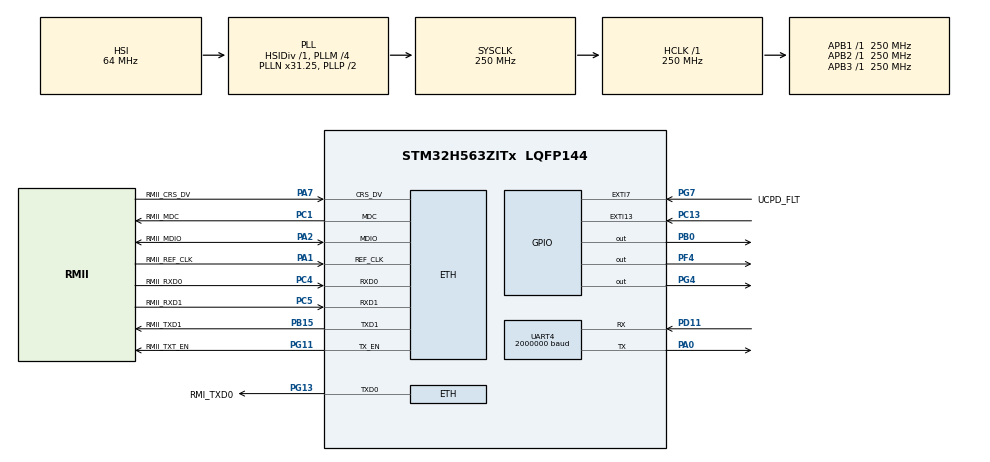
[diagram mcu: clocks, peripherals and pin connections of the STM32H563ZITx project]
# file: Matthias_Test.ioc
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BOOTPATH.BootPathName=LEGACY
BOOTPATH.UserSelectedBootPath=LEGACY
CORTEX_M33_NS.userName=CORTEX_M33
ETH.MediaInterface=HAL_ETH_RMII_MODE
GPDMA1.CIRCULARMODE_GPDMACH7=ENABLE
GPDMA1.DESTINC_GPDMACH7=DMA_DINC_INCREMENTED
GPDMA1.IPHANDLE_GPDMACH7-SIMPLEREQUEST_GPDMACH7=__NULL
GPDMA1.PRIORITY_LL_CIRCULAR_GPDMACH7=DMA_LOW_PRIORITY_MID_WEIGHT
GPDMA1.REQUEST_GPDMACH7=GPDMA1_REQUEST_UART4_RX
Mcu.Family=STM32H5
Mcu.Name=STM32H563ZITx
Mcu.Package=LQFP144
NUCLEO-H563ZI.BUTTON=1
NUCLEO-H563ZI.LD1=true
NUCLEO-H563ZI.LD2=true
NUCLEO-H563ZI.LD3=true
NUCLEO-H563ZI.VCP=true
NVIC.EXTI13_IRQn=true\:0\:0\:false\:false\:true\:false\:true\:true
NVIC.GPDMA1_Channel7_IRQn=true\:0\:0\:false\:false\:true\:false\:true\:true
NVIC.PriorityGroup=NVIC_PRIORITYGROUP_4
NVIC.UART4_IRQn=true\:0\:0\:false\:false\:true\:true\:true\:true
PA0.Mode=Asynchronous
PA0.Signal=UART4_TX
PA1.GPIO_Label=RMII_REF_CLK
PA1.GPIO_Mode=GPIO_MODE_AF_PP
PA1.GPIO_PuPd=GPIO_NOPULL
PA1.GPIO_Speed=GPIO_SPEED_FREQ_LOW
PA1.Mode=RMII
PA1.Signal=ETH_REF_CLK
PA11.GPIO_Label=USB_FS_N
PA11.Signal=USB_DM
PA12.GPIO_Label=USB_FS_P
PA12.Signal=USB_DP
PA13(JTMS/SWDIO).GPIO_Label=SWDIO
PA13(JTMS/SWDIO).Signal=DEBUG_JTMS-SWDIO
PA14(JTCK/SWCLK).GPIO_Label=SWCLK
PA14(JTCK/SWCLK).Signal=DEBUG_JTCK-SWCLK
PA15(JTDI).GPIO_Label=T_JTDI
PA15(JTDI).Signal=DEBUG_JTDI
PA2.GPIO_Label=RMII_MDIO
PA2.GPIO_Mode=GPIO_MODE_AF_PP
PA2.GPIO_PuPd=GPIO_NOPULL
PA2.GPIO_Speed=GPIO_SPEED_FREQ_LOW
PA2.Mode=RMII
PA2.Signal=ETH_MDIO
PA4.GPIO_Label=VBUS_SENSE
PA4.Signal=ADCx_INP18
PA7.GPIO_Label=RMII_CRS_DV
PA7.GPIO_Mode=GPIO_MODE_AF_PP
PA7.GPIO_PuPd=GPIO_NOPULL
PA7.GPIO_Speed=GPIO_SPEED_FREQ_LOW
PA7.Mode=RMII
PA7.Signal=ETH_CRS_DV
PA9.GPIO_Label=UCDP_DBn
PA9.Signal=UCPD1_DB1
PB0.Signal=GPIO_Output
PB13.GPIO_Label=UCPD_CC1
PB13.Signal=UCPD1_CC1
PB14.GPIO_Label=UCPD_CC2
PB14.Signal=UCPD1_CC2
PB15.GPIO_Label=RMII_TXD1
PB15.GPIO_Mode=GPIO_MODE_AF_PP
PB15.GPIO_PuPd=GPIO_NOPULL
PB15.GPIO_Speed=GPIO_SPEED_FREQ_LOW
PB15.Mode=RMII
PB15.Signal=ETH_TXD1
PB3(JTDO/TRACESWO).GPIO_Label=SWO
PB3(JTDO/TRACESWO).Signal=DEBUG_JTDO-SWO
PB6.GPIO_Label=ARD_D1_TX
PB6.Signal=LPUART1_TX
PB7.GPIO_Label=ARD_D0_RX
PB7.Signal=LPUART1_RX
PC1.GPIO_Label=RMII_MDC
PC1.GPIO_Mode=GPIO_MODE_AF_PP
PC1.GPIO_PuPd=GPIO_NOPULL
PC1.GPIO_Speed=GPIO_SPEED_FREQ_LOW
PC1.Mode=RMII
PC1.Signal=ETH_MDC
PC13.Signal=GPXTI13
PC14-OSC32_IN(OSC32_IN).Mode=LSE-External-Oscillator
PC14-OSC32_IN(OSC32_IN).Signal=RCC_OSC32_IN
PC15-OSC32_OUT(OSC32_OUT).Mode=LSE-External-Oscillator
PC15-OSC32_OUT(OSC32_OUT).Signal=RCC_OSC32_OUT
PC4.GPIO_Label=RMII_RXD0
PC4.GPIO_Mode=GPIO_MODE_AF_PP
PC4.GPIO_PuPd=GPIO_NOPULL
PC4.GPIO_Speed=GPIO_SPEED_FREQ_LOW
PC4.Mode=RMII
PC4.Signal=ETH_RXD0
PC5.GPIO_Label=RMII_RXD1
PC5.GPIO_Mode=GPIO_MODE_AF_PP
PC5.GPIO_PuPd=GPIO_NOPULL
PC5.GPIO_Speed=GPIO_SPEED_FREQ_LOW
PC5.Mode=RMII
PC5.Signal=ETH_RXD1
PD11.Mode=Asynchronous
PD11.Signal=UART4_RX
PD8.Signal=USART3_TX
PD9.Signal=USART3_RX
PE2.GPIO_Label=TRACE_CK
PE2.Signal=DEBUG_TRACECLK
PE3.GPIO_Label=TRACE_D0
PE3.Signal=DEBUG_TRACED0
PE4.GPIO_Label=TRACE_D1
PE4.Signal=DEBUG_TRACED1
PE5.GPIO_Label=TRACE_D2
PE5.Signal=DEBUG_TRACED2
PE6.GPIO_Label=TRACE_D3
PE6.Signal=DEBUG_TRACED3
PF4.Signal=GPIO_Output
PG11.GPIO_Label=RMII_TXT_EN
PG11.GPIO_Mode=GPIO_MODE_AF_PP
PG11.GPIO_PuPd=GPIO_NOPULL
PG11.GPIO_Speed=GPIO_SPEED_FREQ_LOW
PG11.Mode=RMII
PG11.Signal=ETH_TX_EN
PG13.GPIO_Label=RMI_TXD0
PG13.GPIO_Mode=GPIO_MODE_AF_PP
PG13.GPIO_PuPd=GPIO_NOPULL
PG13.GPIO_Speed=GPIO_SPEED_FREQ_LOW
PG13.Mode=RMII
PG13.Signal=ETH_TXD0
PG4.Signal=GPIO_Output
PG7.GPIO_Label=UCPD_FLT
PG7.Signal=GPXTI7
PH0-OSC_IN(PH0).GPIO_Label=STLK_MCO
PH0-OSC_IN(PH0).Mode=HSE-External-Clock-Source
PH0-OSC_IN(PH0).Signal=RCC_OSC_IN
ProjectManager.HeapSize=0x200
ProjectManager.StackSize=0x400
ProjectManager.TargetToolchain=STM32CubeIDE
RCC.ADCFreq_Value=250000000
RCC.AHBFreq_Value=250000000
RCC.APB1Freq_Value=250000000
RCC.APB1TimFreq_Value=250000000
RCC.APB2Freq_Value=250000000
RCC.APB2TimFreq_Value=250000000
RCC.APB3Freq_Value=250000000
RCC.CSI_VALUE=4000000
RCC.CortexFreq_Value=250000000
RCC.EPOD_VALUE=64000000
RCC.HCLKFreq_Value=250000000
RCC.HSE_VALUE=8000000
RCC.HSI48_VALUE=48000000
RCC.HSIDiv=RCC_HSI_DIV1
RCC.HSI_VALUE=64000000
RCC.LSIRC_VALUE=32000
RCC.PLLFRACN=2048
RCC.PLLM=4
RCC.PLLN=31
RCC.PLLSourceVirtual=RCC_PLL1_SOURCE_HSI
RCC.SYSCLKFreq_VALUE=250000000
RCC.SYSCLKSource=RCC_SYSCLKSOURCE_PLLCLK
RCC.USBFreq_Value=48000000
RCC.VCOOutputFreq_Value=500000000
SH.ADCx_INP18.0=ADC1_INP18
UART4.BaudRate=2000000
VP_BOOTPATH_VS_BOOTPATH.Mode=BP_Activate
VP_CORTEX_M33_NS_VS_Hclk.Mode=Hclk_Mode
VP_GPDMA1_VS_GPDMACH7.Mode=SIMPLEREQUEST_GPDMACH7
VP_ICACHE_VS_ENABLE_ICACHE_MEMORY.Mode=Memoryregions
VP_ICACHE_VS_ICACHE.Mode=DirectMappedCache
VP_MEMORYMAP_VS_MEMORYMAP.Mode=CurAppReg
VP_NUCLEO-H563ZI_VS_BSP_COMMON.Mode=COMMON
VP_PWR_VS_DBSignals.Mode=DisableDeadBatterySignals
VP_PWR_VS_LPOM.Mode=PowerOptimisation
VP_PWR_VS_SECSignals.Mode=Security/Privilege
board=NUCLEO-H563ZI

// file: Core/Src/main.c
/* USER CODE BEGIN Header */
/**
  ******************************************************************************
  * @file           : main.c
  * @brief          : Main program body
  ******************************************************************************
  * @attention
  *
  * Copyright (c) 2026 STMicroelectronics.
  * All rights reserved.
  *
  * This software is licensed under terms that can be found in the LICENSE file
  * in the root directory of this software component.
  * If no LICENSE file comes with this software, it is provided AS-IS.
  *
  ******************************************************************************
  */
/* USER CODE END Header */
#include "main.h"
#include "string.h"

/* USER CODE BEGIN Includes */
#include <stdio.h>
#include <string.h>

#include "SensorData.h"

#include "lwip.h"
#include "ethernetif.h"
#include "lwip/opt.h"
#include "lwip/init.h"
#include "netif/etharp.h"
#include "lwip/netif.h"
#include "lwip/timeouts.h"

#include "lwip/udp.h"
#include "lwip/pbuf.h"

#if LWIP_DHCP
#include "lwip/dhcp.h"
#endif
/* USER CODE END Includes */

/* USER CODE BEGIN PTD */
typedef struct __attribute__((packed))
{
    uint32_t time_stamp;
    uint16_t index;
    uint16_t sens_status;

    float accel_x;
    float accel_y;
    float accel_z;

    float rate_x;
    float rate_y;
    float rate_z;

    uint16_t temperature;

} ImuSensorData_t;
/* USER CODE END PTD */

ETH_TxPacketConfigTypeDef TxConfig;
ETH_DMADescTypeDef  DMARxDscrTab[ETH_RX_DESC_CNT]; /* Ethernet Rx DMA Descriptors */
ETH_DMADescTypeDef  DMATxDscrTab[ETH_TX_DESC_CNT]; /* Ethernet Tx DMA Descriptors */

COM_InitTypeDef BspCOMInit;

ETH_HandleTypeDef heth;

UART_HandleTypeDef huart4;
DMA_NodeTypeDef Node_GPDMA1_Channel7;
DMA_QListTypeDef List_GPDMA1_Channel7;
DMA_HandleTypeDef handle_GPDMA1_Channel7;

/* USER CODE BEGIN PV */
// ###############################################################################

// für ETH

extern struct netif gnetif;

// End für ETH

uint8_t rx_byte;

static uint8_t rxBuf[129];

volatile uint32_t rx_total_bytes = 0;
volatile uint32_t rx_last_size = 0;

// für die UDP Verbindung
static struct udp_pcb *udp_test_pcb = NULL;
static ip_addr_t udp_target_ip;
static uint16_t udp_target_port = 8575;
static uint32_t udp_test_counter = 0;

// Variable für Status von Callback
volatile HAL_StatusTypeDef rx_restart_status = HAL_OK;

// Ringbuffer Variablen
uint8_t rb[4096];
volatile uint16_t rb_wr; // write Index
volatile uint16_t rb_rd; // read Index
volatile uint32_t rb_overruns; // zählt überläufe

// Für DMA Zugriff
#define DMA_RX_BUF_SIZE 8192
uint8_t dma_rx_buf[DMA_RX_BUF_SIZE];
volatile uint16_t dma_last_pos = 0;

// Parser Varibalen
volatile uint8_t parser_msg_id = 0;
volatile uint16_t parser_length = 0;
volatile uint8_t parser_len_lsb = 0;
volatile uint8_t parser_len_msb = 0;

uint8_t parser_payload[256];
volatile uint16_t parser_payload_index = 0;

volatile uint16_t parser_crc = 0;
volatile uint8_t parser_etx = 0;

volatile uint32_t parser_frame_count = 0;

// Error counter
volatile uint32_t parser_crc_error_count = 0;
volatile uint32_t parser_etx_error_count = 0;
volatile uint32_t parser_length_error_count = 0;
volatile uint32_t parser_frame_error_count = 0;

// Variablen für CRC Buffer
uint8_t crc_input_buffer[259];

typedef enum
{
    PARSER_WAIT_SYNC1 = 0,
    PARSER_WAIT_SYNC2,
    PARSER_READ_MSG_ID,
    PARSER_READ_LEN_LSB,
    PARSER_READ_LEN_MSB,
    PARSER_READ_PAYLOAD,
    PARSER_READ_CRC_LSB,
    PARSER_READ_CRC_MSB,
    PARSER_READ_ETX
} parser_state_t;

// für Parser
volatile parser_state_t parser_state = PARSER_WAIT_SYNC1;
volatile uint32_t parser_header_count = 0;

volatile uint32_t parser_imu_print_count = 0;

// Variable die mit IMU Daten befüllt wird
tSensorData txMsg;

//###############################################################################
/* USER CODE END PV */

void SystemClock_Config(void);
static void MX_GPIO_Init(void);
static void MX_GPDMA1_Init(void);
static void MX_UART4_Init(void);
static void MX_ICACHE_Init(void);
/* USER CODE BEGIN PFP */

// für ETH

static void Netif_Config(void);

// End für ETH
void SystemClock_Config(void);
static void MX_GPIO_Init(void);
static void MX_GPDMA1_Init(void);
static void MX_UART4_Init(void);
static uint16_t imu_calculate_crc(const uint8_t *data, uint16_t length);

// für UDP

static void UDP_Test_Init(void);
static void UDP_Test_Send(void);

/* USER CODE END PFP */

/* USER CODE BEGIN 0 */
#define RB_SIZE 4096u
#define RB_MASK (RB_SIZE - 1u)

// IMU Daten packen und senden

static void UDP_Send_ImuToPlotter(const ImuSensorData_t *imu)
{
    /* Variante B: 32-bit-µs-Überlauf pro Sensor-Index rekonstruieren */
    static uint8_t  ts_init[8]     = {0};
    static uint32_t last_raw_us[8] = {0};
    static uint64_t base_us[8]     = {0};
    static double   last_time[8]   = {0.0};

    if ((udp_test_pcb == NULL) || (imu == NULL))
    {
        return;
    }

    tSensorData txMsg;
    memset(&txMsg, 0, sizeof(txMsg));

    txMsg.Ident.ID = SENSOR_ID_IMURATES_DOUBLE;
    txMsg.Ident.SubID = SENSOR_SUBID_MEMS_MINI_V12_0;
    txMsg.Ident.Index = (uint32_t)imu->index;

    /* --- Variante B: Überlauf des uint32-µs-Zeitstempels rekonstruieren --- */
    uint16_t idx = imu->index;
    if (idx >= 8u)               /* Schutz gegen ungültigen Index */
    {
        return;
    }

    uint8_t  first = !ts_init[idx];
    uint32_t raw   = imu->time_stamp;

    if (!first && (raw < last_raw_us[idx]) &&
        ((last_raw_us[idx] - raw) > 0x80000000UL))   /* nur echter Wrap (>2^31) */
    {
        base_us[idx] += 0x100000000ULL;              /* + 2^32 µs */
    }
    last_raw_us[idx] = raw;
    ts_init[idx]     = 1u;

    double t = (double)(base_us[idx] + raw) * 1e-6;
    txMsg.Values.ImuRates.Time = t;
    /* --------------------------------------------------------------------- */

    txMsg.Values.ImuRates.AngularRateIBB[0] = (double)imu->rate_x;
    txMsg.Values.ImuRates.AngularRateIBB[1] = (double)imu->rate_y;
    txMsg.Values.ImuRates.AngularRateIBB[2] = (double)imu->rate_z;

    txMsg.Values.ImuRates.AccelerationIBB[0] = (double)imu->accel_x;
    txMsg.Values.ImuRates.AccelerationIBB[1] = (double)imu->accel_y;
    txMsg.Values.ImuRates.AccelerationIBB[2] = (double)imu->accel_z;

    txMsg.Values.ImuRates.TimePeriod = first ? 0.0 : (t - last_time[idx]);
    last_time[idx] = t;

    txMsg.Values.ImuRates.Validity.vTime              = 1u;
    txMsg.Values.ImuRates.Validity.vAngularRateIBB_X  = 1u;
    txMsg.Values.ImuRates.Validity.vAngularRateIBB_Y  = 1u;
    txMsg.Values.ImuRates.Validity.vAngularRateIBB_Z  = 1u;
    txMsg.Values.ImuRates.Validity.vAccelerationIBB_X = 1u;
    txMsg.Values.ImuRates.Validity.vAccelerationIBB_Y = 1u;
    txMsg.Values.ImuRates.Validity.vAccelerationIBB_Z = 1u;
    txMsg.Values.ImuRates.Validity.vTimePeriod        = 1u;
    txMsg.Values.ImuRates.Validity.vCheckSum          = 0u;

    txMsg.Values.ImuRates.errorCode = 0u;

    struct pbuf *p = pbuf_alloc(PBUF_TRANSPORT, (u16_t)sizeof(txMsg), PBUF_RAM);
    if (p == NULL)
    {
        printf("UDP send failed: pbuf_alloc() returned NULL\r\n");
        return;
    }

    memcpy(p->payload, &txMsg, sizeof(txMsg));

/*
    if (!netif_is_link_up(&gnetif))
    {
        return;   //
    }
    */

    err_t err = udp_send(udp_test_pcb, p);

    if (err != ERR_OK)
    {
        printf("UDP send failed, err=%d\r\n", err);
    }

    pbuf_free(p);
}

// CRC Check Funktion

static uint16_t imu_calculate_crc(const uint8_t *data, uint16_t length)
{
    uint16_t crc = 0u;

    for (uint16_t i = 0; i < length; i++)
    {
        crc ^= data[i];

        for (uint8_t bit = 0; bit < 8u; bit++)
        {
            if (crc & 0x0001u)
            {
                crc >>= 1;
                crc ^= 0x8408u;
            }
            else
            {
                crc >>= 1;
            }
        }
    }

    return crc;
}

// Funktion, die in Buffer schreibt

static inline void rb_write_bytes(const uint8_t *data, uint16_t len)
{
	// Byte für Byte in Ringpuffer schreiben
    for (uint16_t i = 0; i < len; i++)
    {
        uint16_t next_wr = (uint16_t)((rb_wr + 1u) & RB_MASK);

        // Voll? -> ältestes Byte verwerfen (read-pointer vorschieben)
        if (next_wr == rb_rd)
        {
            rb_rd = (uint16_t)((rb_rd + 1u) & RB_MASK);
            rb_overruns++;
        }

        rb[rb_wr] = data[i];
        rb_wr = next_wr;
    }
}

// Funktion, wie viele Bytes zur Verfügung stehen.
static inline uint16_t rb_available(void)
{
    return (uint16_t)((rb_wr - rb_rd) & RB_MASK);
}

// Position des DMA Zeigers auslesen
static inline uint16_t dma_get_pos(void)
{
    return (uint16_t)(DMA_RX_BUF_SIZE - __HAL_DMA_GET_COUNTER(huart4.hdmarx));
}

// Hilfsfunktion um IMU Daten auszugeben

static void print_imu_data(const ImuSensorData_t *imu)
{
    printf("ts=%lu idx=%u status=%u ax=%.3f ay=%.3f az=%.3f gx=%.3f gy=%.3f gz=%.3f T=%u\r\n",
           (unsigned long)imu->time_stamp,
           (unsigned int)imu->index,
           (unsigned int)imu->sens_status,
           (double)imu->accel_x,
           (double)imu->accel_y,
           (double)imu->accel_z,
           (double)imu->rate_x,
           (double)imu->rate_y,
           (double)imu->rate_z,
           (unsigned int)imu->temperature);
}

static void imu_parser_feed(uint8_t byte)
{
	//printf("%02X ", byte);
    switch (parser_state)
    {
        case PARSER_WAIT_SYNC1:
            if (byte == 0xFF)
            {
                parser_state = PARSER_WAIT_SYNC2;
            }
            break;

        case PARSER_WAIT_SYNC2:
            if (byte == 0x5A)
            {
                parser_header_count++;
                parser_state = PARSER_READ_MSG_ID;
            }
            else if (byte == 0xFF)
            {
                parser_state = PARSER_WAIT_SYNC2;
            }
            else
            {
                parser_state = PARSER_WAIT_SYNC1;
            }
            break;

        case PARSER_READ_MSG_ID:
            parser_msg_id = byte;
            parser_state = PARSER_READ_LEN_LSB;
            break;

        case PARSER_READ_LEN_LSB:
            parser_len_lsb = byte;
            parser_state = PARSER_READ_LEN_MSB;
            break;

        case PARSER_READ_LEN_MSB:
            parser_len_msb = byte;
        	parser_length = (uint16_t)parser_len_lsb | ((uint16_t)byte << 8);

            if (parser_length > sizeof(parser_payload))
            {
            	parser_length_error_count++;
                parser_state = PARSER_WAIT_SYNC1;
            }
            else if (parser_length == 0)
            {
                parser_payload_index = 0;
                parser_state = PARSER_READ_CRC_LSB;
            }
            else
            {
                parser_payload_index = 0;
                parser_state = PARSER_READ_PAYLOAD;
            }
            break;

        case PARSER_READ_PAYLOAD:
            parser_payload[parser_payload_index++] = byte;

            if (parser_payload_index >= parser_length)
            {
                parser_state = PARSER_READ_CRC_LSB;
            }
            break;

        case PARSER_READ_CRC_LSB:
            parser_crc = byte;
            parser_state = PARSER_READ_CRC_MSB;
            break;

        case PARSER_READ_CRC_MSB:
            parser_crc |= ((uint16_t)byte << 8);
            parser_state = PARSER_READ_ETX;
            break;

        case PARSER_READ_ETX:
            parser_etx = byte;

            if (parser_etx == 0x33)
            {
                crc_input_buffer[0] = parser_msg_id;
                crc_input_buffer[1] = parser_len_lsb;
                crc_input_buffer[2] = parser_len_msb;
                memcpy(&crc_input_buffer[3], parser_payload, parser_length);

                uint16_t calculated_crc = imu_calculate_crc(crc_input_buffer, (uint16_t)(3u + parser_length));

               // printf("CRC vergleich: calc=%04X recv=%04X ",  calculated_crc, parser_crc);

                if (calculated_crc == parser_crc)
                {
                    parser_frame_count++;

                    if ((parser_msg_id == 2u) && (parser_length == sizeof(ImuSensorData_t)))
                    {
                        const ImuSensorData_t *imu = (const ImuSensorData_t *)parser_payload;

                        parser_imu_print_count++;

                        if ((parser_imu_print_count % 5u) == 0u)
                        {
        //                    print_imu_data(imu);
                        }
                        UDP_Send_ImuToPlotter(imu);
                    }
                }
                else
                {
                    parser_crc_error_count++;
                    printf("CRC ERROR: calc=%04X recv=%04X id=%02X len=%u\r\n",
                           calculated_crc,
                           parser_crc,
                           parser_msg_id,
                           parser_length);
                }
            }
            else
            {
                parser_frame_error_count++;
            }

            parser_state = PARSER_WAIT_SYNC1;
            break;

        default:
            parser_state = PARSER_WAIT_SYNC1;
            break;
    }
}

static void process_new_dma_data(void)
{
    uint16_t dma_pos = dma_get_pos();

    if (dma_pos == dma_last_pos)
        return;

    if (dma_pos > dma_last_pos)
    {
        // einfacher Fall (kein Wrap)
        for (uint16_t i = dma_last_pos; i < dma_pos; i++)
        {
            uint8_t byte = dma_rx_buf[i];

            // Testausgabe
            imu_parser_feed(byte);
        }
    }
    else
    {
        // Wrap-Around Fall

        // Bereich 1: letzter Teil des Buffers
        for (uint16_t i = dma_last_pos; i < DMA_RX_BUF_SIZE; i++)
        {
            uint8_t byte = dma_rx_buf[i];
            imu_parser_feed(byte);
        }

        // Bereich 2: Anfang des Buffers
        for (uint16_t i = 0; i < dma_pos; i++)
        {
            uint8_t byte = dma_rx_buf[i];
            imu_parser_feed(byte);
        }

    }
    dma_last_pos = dma_pos;

}

/* USER CODE END 0 */

int main(void)
{

  /* MCU Configuration--------------------------------------------------------*/

  /* Reset of all peripherals, Initializes the Flash interface and the Systick. */
  HAL_Init();

  /* Configure the system clock */
  SystemClock_Config();

  /* Initialize all configured peripherals */
  MX_GPIO_Init();
  MX_GPDMA1_Init();
  MX_UART4_Init();
  MX_ICACHE_Init();
  /* USER CODE BEGIN 2 */
  //HAL_UART_Receive_IT(&huart4, &rx_byte, 1);
  //HAL_UARTEx_ReceiveToIdle_IT(&huart4, rxBuf, sizeof(rxBuf));

  // Für ETH

  lwip_init();
  Netif_Config();
  UDP_Test_Init();

  // End für ETH

  if (HAL_UART_Receive_DMA(&huart4, dma_rx_buf, DMA_RX_BUF_SIZE) != HAL_OK)
  {
      Error_Handler();
  }
  /* USER CODE END 2 */

  /* Initialize leds */
  BSP_LED_Init(LED_GREEN);
  BSP_LED_Init(LED_YELLOW);
  BSP_LED_Init(LED_RED);

  /* Initialize USER push-button, will be used to trigger an interrupt each time it's pressed.*/
  BSP_PB_Init(BUTTON_USER, BUTTON_MODE_EXTI);

  /* Initialize COM1 port (115200, 8 bits (7-bit data + 1 stop bit), no parity */
  BspCOMInit.BaudRate   = 115200;
  BspCOMInit.WordLength = COM_WORDLENGTH_8B;
  BspCOMInit.StopBits   = COM_STOPBITS_1;
  BspCOMInit.Parity     = COM_PARITY_NONE;
  BspCOMInit.HwFlowCtl  = COM_HWCONTROL_NONE;
  if (BSP_COM_Init(COM1, &BspCOMInit) != BSP_ERROR_NONE)
  {
    Error_Handler();
  }

  /* Infinite loop */
  /* USER CODE BEGIN WHILE */
  while (1)
  {

	  process_new_dma_data();

/*
	  printf("headers=%lu frames=%lu error crc=%lu error etx=%lu error length=%lu er\r\n",
	            (unsigned long)parser_header_count,
	            (unsigned long)parser_frame_count,
	            (unsigned long)parser_crc_error_count, parser_etx_error_count, parser_frame_error_count );

*/

	    BSP_LED_Toggle(LED_GREEN);

	    /* Read a received packet from the Ethernet buffers and send it
	                  to the lwIP for handling */
	    ethernetif_input(&gnetif);
	                 /* Handle timeouts */
	    sys_check_timeouts();
	    #if LWIP_NETIF_LINK_CALLBACK
	                 Ethernet_Link_Periodic_Handle(&gnetif);
	    #endif
	    #if LWIP_DHCP
	                 DHCP_Periodic_Handle(&gnetif);
	    #endif

	    //HAL_Delay(100);
	   // UDP_Test_Send();

    /* USER CODE END WHILE */

  }
}

void SystemClock_Config(void)
{
  RCC_OscInitTypeDef RCC_OscInitStruct = {0};
  RCC_ClkInitTypeDef RCC_ClkInitStruct = {0};

  /** Configure the main internal regulator output voltage
  */
  __HAL_PWR_VOLTAGESCALING_CONFIG(PWR_REGULATOR_VOLTAGE_SCALE0);

  while(!__HAL_PWR_GET_FLAG(PWR_FLAG_VOSRDY)) {}

  /** Initializes the RCC Oscillators according to the specified parameters
  * in the RCC_OscInitTypeDef structure.
  */
  RCC_OscInitStruct.OscillatorType = RCC_OSCILLATORTYPE_HSI;
  RCC_OscInitStruct.HSIState = RCC_HSI_ON;
  RCC_OscInitStruct.HSIDiv = RCC_HSI_DIV1;
  RCC_OscInitStruct.HSICalibrationValue = RCC_HSICALIBRATION_DEFAULT;
  RCC_OscInitStruct.PLL.PLLState = RCC_PLL_ON;
  RCC_OscInitStruct.PLL.PLLSource = RCC_PLL1_SOURCE_HSI;
  RCC_OscInitStruct.PLL.PLLM = 4;
  RCC_OscInitStruct.PLL.PLLN = 31;
  RCC_OscInitStruct.PLL.PLLP = 2;
  RCC_OscInitStruct.PLL.PLLQ = 2;
  RCC_OscInitStruct.PLL.PLLR = 2;
  RCC_OscInitStruct.PLL.PLLRGE = RCC_PLL1_VCIRANGE_3;
  RCC_OscInitStruct.PLL.PLLVCOSEL = RCC_PLL1_VCORANGE_WIDE;
  RCC_OscInitStruct.PLL.PLLFRACN = 2048;
  if (HAL_RCC_OscConfig(&RCC_OscInitStruct) != HAL_OK)
  {
    Error_Handler();
  }

  /** Initializes the CPU, AHB and APB buses clocks
  */
  RCC_ClkInitStruct.ClockType = RCC_CLOCKTYPE_HCLK|RCC_CLOCKTYPE_SYSCLK
                              |RCC_CLOCKTYPE_PCLK1|RCC_CLOCKTYPE_PCLK2
                              |RCC_CLOCKTYPE_PCLK3;
  RCC_ClkInitStruct.SYSCLKSource = RCC_SYSCLKSOURCE_PLLCLK;
  RCC_ClkInitStruct.AHBCLKDivider = RCC_SYSCLK_DIV1;
  RCC_ClkInitStruct.APB1CLKDivider = RCC_HCLK_DIV1;
  RCC_ClkInitStruct.APB2CLKDivider = RCC_HCLK_DIV1;
  RCC_ClkInitStruct.APB3CLKDivider = RCC_HCLK_DIV1;

  if (HAL_RCC_ClockConfig(&RCC_ClkInitStruct, FLASH_LATENCY_5) != HAL_OK)
  {
    Error_Handler();
  }

  /** Configure the programming delay
  */
  __HAL_FLASH_SET_PROGRAM_DELAY(FLASH_PROGRAMMING_DELAY_2);
}

void MX_ETH_Init(void)
{

   static uint8_t MACAddr[6];

  heth.Instance = ETH;
  MACAddr[0] = 0x00;
  MACAddr[1] = 0x80;
  MACAddr[2] = 0xE1;
  MACAddr[3] = 0x00;
  MACAddr[4] = 0x00;
  MACAddr[5] = 0x00;
  heth.Init.MACAddr = &MACAddr[0];
  heth.Init.MediaInterface = HAL_ETH_RMII_MODE;
  heth.Init.TxDesc = DMATxDscrTab;
  heth.Init.RxDesc = DMARxDscrTab;
  heth.Init.RxBuffLen = 1524;

  if (HAL_ETH_Init(&heth) != HAL_OK)
  {
    Error_Handler();
  }

  memset(&TxConfig, 0 , sizeof(ETH_TxPacketConfigTypeDef));
  TxConfig.Attributes = ETH_TX_PACKETS_FEATURES_CSUM | ETH_TX_PACKETS_FEATURES_CRCPAD;
  TxConfig.ChecksumCtrl = ETH_CHECKSUM_IPHDR_PAYLOAD_INSERT_PHDR_CALC;
  TxConfig.CRCPadCtrl = ETH_CRC_PAD_INSERT;

}

static void MX_GPDMA1_Init(void)
{

  /* Peripheral clock enable */
  __HAL_RCC_GPDMA1_CLK_ENABLE();

  /* GPDMA1 interrupt Init */
    HAL_NVIC_SetPriority(GPDMA1_Channel7_IRQn, 0, 0);
    HAL_NVIC_EnableIRQ(GPDMA1_Channel7_IRQn);

}

static void MX_ICACHE_Init(void)
{

  /** Enable instruction cache in 1-way (direct mapped cache)
  */
  if (HAL_ICACHE_ConfigAssociativityMode(ICACHE_1WAY) != HAL_OK)
  {
    Error_Handler();
  }
  if (HAL_ICACHE_Enable() != HAL_OK)
  {
    Error_Handler();
  }

}

static void MX_UART4_Init(void)
{

  huart4.Instance = UART4;
  huart4.Init.BaudRate = 6000000;
  huart4.Init.WordLength = UART_WORDLENGTH_8B;
  huart4.Init.StopBits = UART_STOPBITS_1;
  huart4.Init.Parity = UART_PARITY_NONE;
  huart4.Init.Mode = UART_MODE_TX_RX;
  huart4.Init.HwFlowCtl = UART_HWCONTROL_NONE;
  huart4.Init.OverSampling = UART_OVERSAMPLING_16;
  huart4.Init.OneBitSampling = UART_ONE_BIT_SAMPLE_DISABLE;
  huart4.Init.ClockPrescaler = UART_PRESCALER_DIV1;
  huart4.AdvancedInit.AdvFeatureInit = UART_ADVFEATURE_NO_INIT;
  if (HAL_UART_Init(&huart4) != HAL_OK)
  {
    Error_Handler();
  }
  if (HAL_UARTEx_SetTxFifoThreshold(&huart4, UART_TXFIFO_THRESHOLD_1_8) != HAL_OK)
  {
    Error_Handler();
  }
  if (HAL_UARTEx_SetRxFifoThreshold(&huart4, UART_RXFIFO_THRESHOLD_1_8) != HAL_OK)
  {
    Error_Handler();
  }
  if (HAL_UARTEx_DisableFifoMode(&huart4) != HAL_OK)
  {
    Error_Handler();
  }

}

static void MX_GPIO_Init(void)
{
  GPIO_InitTypeDef GPIO_InitStruct = {0};

  /* GPIO Ports Clock Enable */
  __HAL_RCC_GPIOE_CLK_ENABLE();
  __HAL_RCC_GPIOC_CLK_ENABLE();
  __HAL_RCC_GPIOH_CLK_ENABLE();
  __HAL_RCC_GPIOA_CLK_ENABLE();
  __HAL_RCC_GPIOB_CLK_ENABLE();
  __HAL_RCC_GPIOD_CLK_ENABLE();
  __HAL_RCC_GPIOG_CLK_ENABLE();

  /*Configure GPIO pin : VBUS_SENSE_Pin */
  GPIO_InitStruct.Pin = VBUS_SENSE_Pin;
  GPIO_InitStruct.Mode = GPIO_MODE_ANALOG;
  GPIO_InitStruct.Pull = GPIO_NOPULL;
  HAL_GPIO_Init(VBUS_SENSE_GPIO_Port, &GPIO_InitStruct);

  /*Configure GPIO pins : UCPD_CC1_Pin UCPD_CC2_Pin */
  GPIO_InitStruct.Pin = UCPD_CC1_Pin|UCPD_CC2_Pin;
  GPIO_InitStruct.Mode = GPIO_MODE_ANALOG;
  GPIO_InitStruct.Pull = GPIO_NOPULL;
  HAL_GPIO_Init(GPIOB, &GPIO_InitStruct);

  /*Configure GPIO pin : UCPD_FLT_Pin */
  GPIO_InitStruct.Pin = UCPD_FLT_Pin;
  GPIO_InitStruct.Mode = GPIO_MODE_IT_RISING;
  GPIO_InitStruct.Pull = GPIO_NOPULL;
  HAL_GPIO_Init(UCPD_FLT_GPIO_Port, &GPIO_InitStruct);

  /*Configure GPIO pins : USB_FS_N_Pin USB_FS_P_Pin */
  GPIO_InitStruct.Pin = USB_FS_N_Pin|USB_FS_P_Pin;
  GPIO_InitStruct.Mode = GPIO_MODE_AF_PP;
  GPIO_InitStruct.Pull = GPIO_NOPULL;
  GPIO_InitStruct.Speed = GPIO_SPEED_FREQ_LOW;
  GPIO_InitStruct.Alternate = GPIO_AF10_USB;
  HAL_GPIO_Init(GPIOA, &GPIO_InitStruct);

  /*Configure GPIO pins : ARD_D1_TX_Pin ARD_D0_RX_Pin */
  GPIO_InitStruct.Pin = ARD_D1_TX_Pin|ARD_D0_RX_Pin;
  GPIO_InitStruct.Mode = GPIO_MODE_AF_PP;
  GPIO_InitStruct.Pull = GPIO_NOPULL;
  GPIO_InitStruct.Speed = GPIO_SPEED_FREQ_LOW;
  GPIO_InitStruct.Alternate = GPIO_AF8_LPUART1;
  HAL_GPIO_Init(GPIOB, &GPIO_InitStruct);

}

/* USER CODE BEGIN 4 */

// Für ETH
/**
 * @brief  Setup the network interface
 *   None
 * @retval None
 */
static void Netif_Config(void) {
      ip_addr_t ipaddr;
      ip_addr_t netmask;
      ip_addr_t gw;
#if LWIP_DHCP
      ip_addr_set_zero_ip4(&ipaddr);
      ip_addr_set_zero_ip4(&netmask);
      ip_addr_set_zero_ip4(&gw);
#else
  /* IP address default setting */
  IP4_ADDR(&ipaddr, IP_ADDR0, IP_ADDR1, IP_ADDR2, IP_ADDR3);
  IP4_ADDR(&netmask, NETMASK_ADDR0, NETMASK_ADDR1 , NETMASK_ADDR2, NETMASK_ADDR3);
  IP4_ADDR(&gw, GW_ADDR0, GW_ADDR1, GW_ADDR2, GW_ADDR3);
#endif
      /* add the network interface */
      netif_add(&gnetif, &ipaddr, &netmask, &gw, NULL, &ethernetif_init,
                   &ethernet_input);
      /*  Registers the default network interface */
      netif_set_default(&gnetif);

#if LWIP_NETIF_LINK_CALLBACK
      netif_set_link_callback(&gnetif, ethernet_link_status_updated);
      // dhcp_start(&gnetif);
      // ethernet_link_status_updated(&gnetif);
#endif

#if LWIP_DHCP
    dhcp_start(&gnetif);
    ethernet_link_status_updated(&gnetif);
#endif

}

// Test 08_05

// End für ETH

// Für UDP

static void UDP_Test_Init(void)
{
    err_t err;

    udp_test_pcb = udp_new();
    if (udp_test_pcb == NULL)
    {
        printf("UDP init failed: udp_new() returned NULL\r\n");
        return;
    }

    // Physikalischer SPA Matthias
    //IP4_ADDR(&udp_target_ip, 10, 97, 106, 101);

    // Messplatz Inertiallabor
   // IP4_ADDR(&udp_target_ip, 10, 97, 106, 57);

    // Messplatz Inertiallabor neu
    IP4_ADDR(&udp_target_ip, 10, 97, 106, 219);

    err = udp_connect(udp_test_pcb, &udp_target_ip, udp_target_port);
    if (err != ERR_OK)
    {
        printf("UDP init failed: udp_connect() error = %d\r\n", err);
        udp_remove(udp_test_pcb);
        udp_test_pcb = NULL;
        return;
    }

    printf("UDP init OK: target=%s =%u\r\n", "10.97.106.101", udp_target_port);
}

static void UDP_Test_Send(void)
{
    if (udp_test_pcb == NULL)
    {
        printf("im Return");
        return;
    }

    tSensorData txMsg;
    memset(&txMsg, 0, sizeof(txMsg));

    txMsg.Ident.ID    = SENSOR_ID_IMURATES_DOUBLE;
    txMsg.Ident.SubID = SENSOR_SUBID_MEMS_MINI_V12_0;
    txMsg.Ident.Index = 1u;

    txMsg.Values.ImuRates.Time = (double)udp_test_counter * 0.01;
    txMsg.Values.ImuRates.AngularRateIBB[0] = 0.1;
    txMsg.Values.ImuRates.AngularRateIBB[1] = 0.2;
    txMsg.Values.ImuRates.AngularRateIBB[2] = 0.3;

    txMsg.Values.ImuRates.AccelerationIBB[0] = 9.81;
    txMsg.Values.ImuRates.AccelerationIBB[1] = 0.0;
    txMsg.Values.ImuRates.AccelerationIBB[2] = 0.0;

    txMsg.Values.ImuRates.TimePeriod = 0.01;
    txMsg.Values.ImuRates.Validity.vTime              = 1u;
    txMsg.Values.ImuRates.Validity.vAngularRateIBB_X  = 1u;
    txMsg.Values.ImuRates.Validity.vAngularRateIBB_Y  = 1u;
    txMsg.Values.ImuRates.Validity.vAngularRateIBB_Z  = 1u;
    txMsg.Values.ImuRates.Validity.vAccelerationIBB_X = 1u;
    txMsg.Values.ImuRates.Validity.vAccelerationIBB_Y = 1u;
    txMsg.Values.ImuRates.Validity.vAccelerationIBB_Z = 1u;
    txMsg.Values.ImuRates.Validity.vTimePeriod        = 1u;
    txMsg.Values.ImuRates.Validity.vCheckSum          = 0u;

    txMsg.Values.ImuRates.errorCode = 0u;

    uint16_t len = (uint16_t)sizeof(tSensorData);

    struct pbuf *p = pbuf_alloc(PBUF_TRANSPORT, len, PBUF_RAM);
    if (p == NULL)
    {
        printf("UDP send failed: pbuf_alloc() returned NULL\r\n");
        return;
    }

    memcpy(p->payload, &txMsg, len);

    err_t err = udp_send(udp_test_pcb, p);

    if (err != ERR_OK)
    {
        printf("UDP send failed, err=%d\r\n", err);
    }
    else
    {
        printf("UDP sent IMURATES_DOUBLE cnt=%lu\r\n", (unsigned long)udp_test_counter);
    }

    pbuf_free(p);
    udp_test_counter++;
}
// End für UDP
void HAL_UARTEx_RxEventCallback(UART_HandleTypeDef *huart, uint16_t Size)
{
    if (huart->Instance == UART4)
    {
        rx_total_bytes += Size;
        rx_last_size = Size;

        // Bytes in Ringbuffer schreiben
        rb_write_bytes(rxBuf, Size);

        printf("Empfangen: %s\r\n", rxBuf);
        BSP_LED_Toggle(LED_YELLOW);

        rx_restart_status = HAL_UARTEx_ReceiveToIdle_IT(&huart4, rxBuf, sizeof(rxBuf));
    }
}

//void HAL_UART_RxCpltCallback(UART_HandleTypeDef *huart)
//{
//    if (huart->Instance == UART4)
//    {
//
//    	//HAL_UART_Transmit(&hcom_uart, (uint8_t*)msg, sizeof(msg)-1, HAL_MAX_DELAY);
//        BSP_LED_Toggle(LED_YELLOW);
//        printf("Empfangen: %c\r\n", rx_byte);
//
//        // Empfang wieder neu starten!
//        HAL_UART_Receive_IT(&huart4, &rx_byte, 1);
//
//    }
//}
/* USER CODE END 4 */

void Error_Handler(void)
{
  __disable_irq();
  while (1)
  {
  }
}
